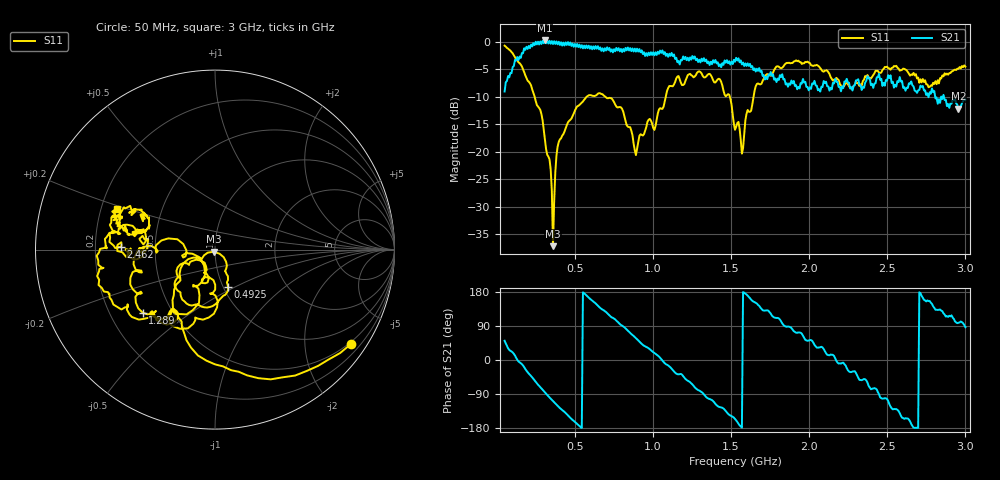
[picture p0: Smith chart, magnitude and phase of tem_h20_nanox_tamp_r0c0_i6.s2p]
! nanovna_capture.py 2026-10-26T21:58:52+0900
! NanoVNA-F_V2 fw 0.6.0 SN 4A3639384505514B
! cal: load open short thru cal'ed  over 50000000-3000000000 Hz, 201 points
! points 401, avg 4
! TEM h=20, tampered Nano X, 0 deg, centred, interleaved run T6
# HZ S RI R 50
! S12 and S22 are not measured (written as 0)
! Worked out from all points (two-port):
!   401 points, 50 MHz to 3 GHz, reference 50 ohm
!   highest |S21| = 0.25 dB at 308.1 MHz (marker M1); lowest = -12.2 dB at 2.956 GHz (marker M2)
!   |S21| within 3 dB of the highest: 145.1 MHz to 147.9 MHz (2.802 MHz wide, 1.91 % of centre); 154.7 MHz to 1.138 GHz (983.6 MHz wide, 152 % of centre) (the widest 2 of 6)
!   lowest |S11| = -37.2 dB at 359.8 MHz (marker M3), VSWR 1.03, Z = 49.3 - j1.18 ohm
!   |S11| at or under -10 dB: 242.3 MHz to 575.5 MHz (333.2 MHz wide, 81.5 % of centre); 694 MHz to 1.081 GHz (387.3 MHz wide, 43.6 % of centre); 1.492 GHz to 1.644 GHz (152.2 MHz wide, 9.71 % of centre)
!   S12 and S22 are empty: the file has one direction only
!   S11 on the Smith chart (normalised r, x): 50 MHz: 0.45, -3.14; 492.5 MHz: 1.05, -0.46; 1.289 GHz: 0.34, -0.34; 2.462 GHz: 0.31, +0.01; 3 GHz: 0.26, +0.19
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5e7  0.7579 -0.5257  0.2235 0.2729  0 0  0 0
1.75375e8  -0.1592 -0.5045  0.8265 -0.2833  0 0  0 0
3.08125e8  -0.1198 -0.0443  0.0794 -1.026  0 0  0 0
3.5975e8  -0.0068 -0.012  -0.2976 -0.9079  0 0  0 0
3.96625e8  0.0626 -0.1053  -0.5545 -0.8337  0 0  0 0
4.925e8  0.0729 -0.2098  -0.8504 -0.2984  0 0  0 0
5.44125e8  0.0266 -0.2772  -0.9318 -0.0118  0 0  0 0
7.80125e8  -0.2019 -0.1541  -0.1188 0.8667  0 0  0 0
8.9075e8  -0.0583 -0.0725  0.4336 0.6893  0 0  0 0
1.03825e9  -0.0127 -0.2421  0.768 0.1234  0 0  0 0
1.289e9  -0.4023 -0.3519  0.119 -0.644  0 0  0 0
1.429125e9  -0.4514 -0.0479  -0.3516 -0.5154  0 0  0 0
1.525e9  -0.1582 -0.00617  -0.5984 -0.2731  0 0  0 0
1.576625e9  -0.0612 -0.0885  -0.6481 0.0104  0 0  0 0
1.694625e9  -0.2399 -0.3388  -0.3837 0.3862  0 0  0 0
2.019125e9  -0.6074 0.0205  0.2658 0.3229  0 0  0 0
2.240375e9  -0.4206 0.0604  0.4285 -0.167  0 0  0 0
2.461625e9  -0.5248 0.0155  -0.0858 -0.4517  0 0  0 0
2.51325e9  -0.5626 0.1045  -0.2092 -0.4186  0 0  0 0
2.653375e9  -0.4659 0.1925  -0.4277 -0.0836  0 0  0 0
2.95575e9  -0.5443 0.1682  -0.0351 0.2439  0 0  0 0
3e9  -0.5485 0.2278  0.0168 0.2963  0 0  0 0
